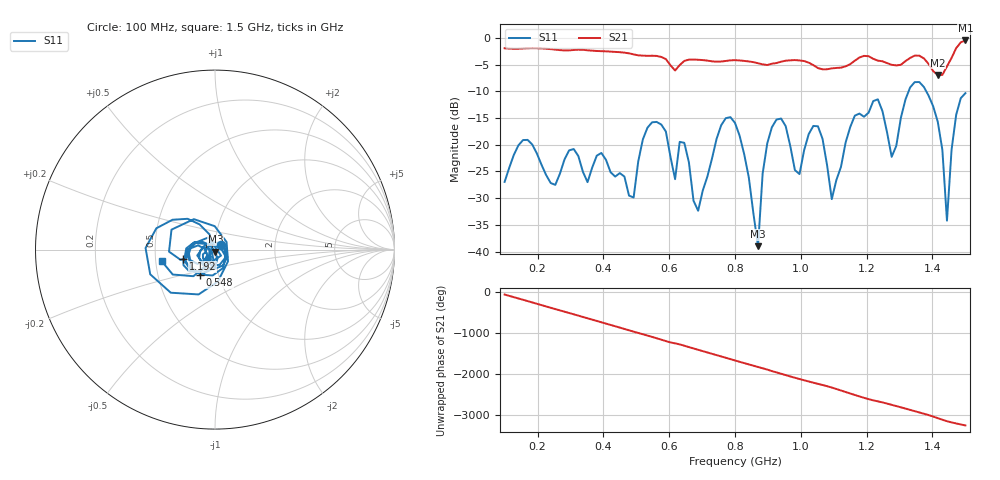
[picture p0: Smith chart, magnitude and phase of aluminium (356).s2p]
! NanoVNA-App
! Date: 2025-09-25 14:58:03
! Start: 100MHz Stop: 1,5GHz Points: 101
! S-Parameter data: F S11 S21 S12 S22
# Hz S RI R 50
!  Frequency  S11_Real  S11_Imag  S21_Real  S21_Imag  S12_Real  S12_Imag  S22_Real  S22_Imag
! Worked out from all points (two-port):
!   101 points, 100 MHz to 1.5 GHz, reference 50 ohm
!   highest |S21| = -0.45 dB at 1.5 GHz (marker M1); lowest = -6.9 dB at 1.416 GHz (marker M2)
!   |S21| within 3 dB of the highest: start of sweep to 569.4 MHz; 1.46 GHz to end of sweep (the widest 2 of 4)
!   lowest |S11| = -39.0 dB at 870 MHz (marker M3), VSWR 1.02, Z = 50.2 - j1.11 ohm
!   |S11| at or under -10 dB: start of sweep to 1.327 GHz; 1.381 GHz to end of sweep
!   S12 and S22 are empty: the file has one direction only
!   S11 on the Smith chart (normalised r, x): 100 MHz: 1.07, +0.06; 548 MHz: 0.82, -0.23; 1.192 GHz: 0.70, -0.07; 1.5 GHz: 0.54, -0.08
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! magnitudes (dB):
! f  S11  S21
! 100 MHz  -27.0  -1.9
! 156 MHz  -19.1  -2.0
! 338 MHz  -25.1  -2.2
! 492 MHz  -29.9  -3.1
! 548 MHz  -15.8  -3.3
! 576 MHz  -16.2  -3.5
! 646 MHz  -19.6  -4.3
! 688 MHz  -32.4  -4.1
! 800 MHz  -15.9  -4.2
! 870 MHz  -39.0  -4.7
! 912 MHz  -16.7  -4.8
! 996 MHz  -25.5  -4.2
! 1.038 GHz  -16.5  -5.1
! 1.094 GHz  -30.2  -5.7
! 1.192 GHz  -14.8  -3.3
! 1.234 GHz  -11.5  -4.2
! 1.276 GHz  -22.3  -5.0
! 1.346 GHz  -8.3  -3.3
! 1.416 GHz  -15.7  -6.9
! 1.444 GHz  -34.2  -5.3
! 1.472 GHz  -14.4  -1.9
! 1.5 GHz  -10.3  -0.5
